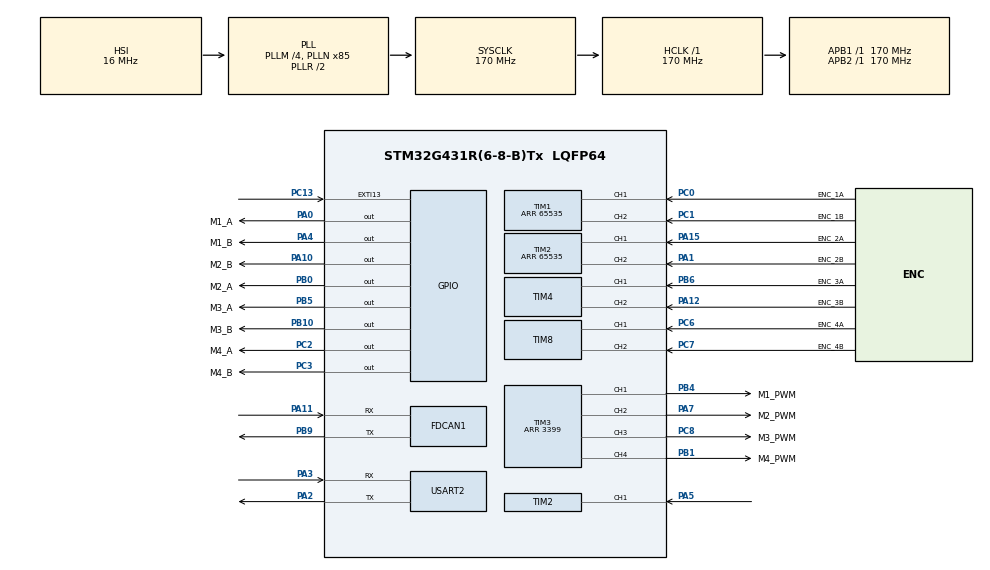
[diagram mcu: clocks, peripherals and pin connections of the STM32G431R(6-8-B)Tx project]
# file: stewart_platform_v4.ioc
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FDCAN1.CalculateBaudRateNominal=125000
FDCAN1.CalculateTimeBitNominal=8000
FDCAN1.CalculateTimeQuantumNominal=400.0
FDCAN1.NominalPrescaler=68
FDCAN1.NominalSyncJumpWidth=4
FDCAN1.NominalTimeSeg1=15
FDCAN1.NominalTimeSeg2=4
Mcu.Family=STM32G4
Mcu.Name=STM32G431R(6-8-B)Tx
Mcu.Package=LQFP64
NUCLEO-G431RB.BUTTON=1
NUCLEO-G431RB.LD1=true
NVIC.EXTI15_10_IRQn=true\:0\:0\:false\:false\:true\:false\:true\:true
NVIC.PriorityGroup=NVIC_PRIORITYGROUP_4
PA0.GPIO_Label=M1_A
PA0.Signal=GPIO_Output
PA1.GPIO_Label=ENC_2B
PA1.Signal=S_TIM2_CH2
PA10.GPIO_Label=M2_B
PA10.Signal=GPIO_Output
PA11.Mode=FDCAN_Activate
PA11.Signal=FDCAN1_RX
PA12.GPIO_Label=ENC_3B
PA12.Signal=S_TIM4_CH2
PA13.GPIO_Label=T_SWDIO
PA13.Mode=Trace_Asynchronous_SW
PA13.Signal=SYS_JTMS-SWDIO
PA14.GPIO_Label=T_SWCLK
PA14.Mode=Trace_Asynchronous_SW
PA14.Signal=SYS_JTCK-SWCLK
PA15.GPIO_Label=ENC_2A
PA15.Signal=S_TIM2_CH1
PA2.Mode=Asynchronous
PA2.Signal=USART2_TX
PA3.Mode=Asynchronous
PA3.Signal=USART2_RX
PA4.GPIO_Label=M1_B
PA4.Signal=GPIO_Output
PA5.Signal=S_TIM2_CH1
PA7.GPIO_Label=M2_PWM
PA7.Signal=S_TIM3_CH2
PB0.GPIO_Label=M2_A
PB0.Signal=GPIO_Output
PB1.GPIO_Label=M4_PWM
PB1.Signal=S_TIM3_CH4
PB10.GPIO_Label=M3_B
PB10.Signal=GPIO_Output
PB3.GPIO_Label=T_SWO
PB3.Mode=Trace_Asynchronous_SW
PB3.Signal=SYS_JTDO-SWO
PB4.GPIO_Label=M1_PWM
PB4.Signal=S_TIM3_CH1
PB5.GPIO_Label=M3_A
PB5.Signal=GPIO_Output
PB6.GPIO_Label=ENC_3A
PB6.Signal=S_TIM4_CH1
PB9.Mode=FDCAN_Activate
PB9.Signal=FDCAN1_TX
PC0.GPIO_Label=ENC_1A
PC0.Signal=S_TIM1_CH1
PC1.GPIO_Label=ENC_1B
PC1.Signal=S_TIM1_CH2
PC13.Signal=GPXTI13
PC14-OSC32_IN.GPIO_Label=RCC_OSC32_OUT
PC14-OSC32_IN.Signal=RCC_OSC32_IN
PC15-OSC32_OUT.GPIO_Label=RCC_OSC32_OUT
PC15-OSC32_OUT.Signal=RCC_OSC32_OUT
PC2.GPIO_Label=M4_A
PC2.Signal=GPIO_Output
PC3.GPIO_Label=M4_B
PC3.Signal=GPIO_Output
PC6.GPIO_Label=ENC_4A
PC6.Signal=S_TIM8_CH1
PC7.GPIO_Label=ENC_4B
PC7.Signal=S_TIM8_CH2
PC8.GPIO_Label=M3_PWM
PC8.Signal=S_TIM3_CH3
PF0-OSC_IN.GPIO_Label=RCC_OSC_IN
PF0-OSC_IN.Mode=HSE-External-Oscillator
PF0-OSC_IN.Signal=RCC_OSC_IN
PF1-OSC_OUT.GPIO_Label=RCC_OSC_OUT
PF1-OSC_OUT.Mode=HSE-External-Oscillator
PF1-OSC_OUT.Signal=RCC_OSC_OUT
ProjectManager.HeapSize=0x200
ProjectManager.StackSize=0x400
ProjectManager.TargetToolchain=STM32CubeIDE
RCC.ADC12Freq_Value=170000000
RCC.AHBFreq_Value=170000000
RCC.APB1Freq_Value=170000000
RCC.APB1TimFreq_Value=170000000
RCC.APB2Freq_Value=170000000
RCC.APB2TimFreq_Value=170000000
RCC.CortexFreq_Value=170000000
RCC.EXTERNAL_CLOCK_VALUE=12288000
RCC.HCLKFreq_Value=170000000
RCC.HSE_VALUE=24000000
RCC.HSI48_VALUE=48000000
RCC.HSI_VALUE=16000000
RCC.LSE_VALUE=32768
RCC.PLLM=RCC_PLLM_DIV4
RCC.PLLN=85
RCC.RTCClockSelection=RCC_RTCCLKSOURCE_LSE
RCC.SYSCLKFreq_VALUE=170000000
RCC.SYSCLKSource=RCC_SYSCLKSOURCE_PLLCLK
RCC.USBFreq_Value=170000000
RCC.VCOOutputFreq_Value=340000000
SH.S_TIM1_CH1.0=TIM1_CH1,Encoder_Interface
SH.S_TIM1_CH2.0=TIM1_CH2,Encoder_Interface
SH.S_TIM2_CH1.0=TIM2_CH1,Encoder_Interface
SH.S_TIM2_CH2.0=TIM2_CH2,Encoder_Interface
SH.S_TIM3_CH1.0=TIM3_CH1,PWM Generation1 CH1
SH.S_TIM3_CH2.0=TIM3_CH2,PWM Generation2 CH2
SH.S_TIM3_CH3.0=TIM3_CH3,PWM Generation3 CH3
SH.S_TIM3_CH4.0=TIM3_CH4,PWM Generation4 CH4
SH.S_TIM4_CH1.0=TIM4_CH1,Encoder_Interface
SH.S_TIM4_CH2.0=TIM4_CH2,Encoder_Interface
SH.S_TIM8_CH1.0=TIM8_CH1,Encoder_Interface
SH.S_TIM8_CH2.0=TIM8_CH2,Encoder_Interface
TIM1.EncoderMode=TIM_ENCODERMODE_TI12
TIM1.IC1Filter=6
TIM1.IC2Filter=6
TIM1.PeriodNoDither=65535
TIM1.TIM_MasterOutputTrigger=TIM_TRGO_UPDATE
TIM1.TIM_MasterSlaveMode=TIM_MASTERSLAVEMODE_ENABLE
TIM2.EncoderMode=TIM_ENCODERMODE_TI12
TIM2.IC1Filter=6
TIM2.IC2Filter=6
TIM2.PeriodNoDither=65535
TIM3.Channel-PWM\ Generation1\ CH1=TIM_CHANNEL_1
TIM3.Channel-PWM\ Generation2\ CH2=TIM_CHANNEL_2
TIM3.Channel-PWM\ Generation3\ CH3=TIM_CHANNEL_3
TIM3.Channel-PWM\ Generation4\ CH4=TIM_CHANNEL_4
TIM3.PeriodNoDither=3399
TIM3.PulseNoDither_1=3000
TIM4.EncoderMode=TIM_ENCODERMODE_TI12
TIM4.IC1Filter=6
TIM4.IC1Polarity=TIM_ICPOLARITY_RISING
TIM4.IC2Filter=6
TIM8.EncoderMode=TIM_ENCODERMODE_TI12
TIM8.IC1Filter=6
TIM8.IC2Filter=6
USART2.VirtualMode-Asynchronous=VM_ASYNC
VP_NUCLEO-G431RB_VS_BSP_COMMON.Mode=COMMON
VP_SYS_VS_DBSignals.Mode=DisableDeadBatterySignals
VP_TIM3_VS_ClockSourceINT.Mode=Internal
board=NUCLEO-G431RB

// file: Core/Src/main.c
/* USER CODE BEGIN Header */
/**
  ******************************************************************************
  * @file           : main.c
  * @brief          : Stewart platform - 4 actuator sync on NUCLEO-G431RB
  ******************************************************************************
  * @attention
  *
  * Copyright (c) 2026 STMicroelectronics.
  * All rights reserved.
  *
  * This software is licensed under terms that can be found in the LICENSE file
  * in the root directory of this software component.
  * If no LICENSE file comes with this software, it is provided AS-IS.
  *
  ******************************************************************************
  *
  * Pin map (must match the .ioc):
  *   Leg | Dir A | Dir B | PWM (TIM3, ARR 3399) | Encoder (65535)
  *   M1  | PA0   | PA4   | CH1 PB4              | TIM1 PC0/PC1
  *   M2  | PB0   | PA10  | CH2 PA7              | TIM2 PA15/PA1
  *   M3  | PB5   | PB10  | CH3 PC8              | TIM4 PB6/PA12
  *   M4  | PC2   | PC3   | CH4 PB1              | TIM8 PC6/PC7
  *   CAN : FDCAN1 RX PA11 / TX PB9, 125 kbit/s (prescaler 68, seg1 15, seg2 4)
  *   UART: USART2 PA2/PA3 (ST-LINK virtual COM), 115200
  ******************************************************************************
  */
/* USER CODE END Header */
#include "main.h"

/* USER CODE BEGIN Includes */
#include <stdio.h>
#include <string.h>
#include <stdarg.h>
/* USER CODE END Includes */

/* USER CODE BEGIN PTD */
// --- Stewart platform state ---
typedef enum{
	SLEEP_STANDBY,
	FORWARD,
	BRAKE,
	BACKWARD,
	HOMING                 // open-loop retract to end stops (used to recover from a fault)
} stewart_state;

// --- command direction ---
typedef enum{
	GO,
	REVERSE
} command_direction;

// --- one actuator: H-bridge + encoder ---
typedef struct{
	// PWM (speed)
	TIM_HandleTypeDef *timer;
	uint32_t channel;
	// direction pins
	GPIO_TypeDef *gpioportA;
	uint16_t GPIOPinA;
	GPIO_TypeDef *gpioportB;
	uint16_t GPIOPinB;
	// encoder (timer in encoder mode, period 65535)
	TIM_HandleTypeDef *enc_timer;
	uint8_t enc_invert;          // set to 1 if this leg counts NEGATIVE while extending
	uint16_t enc_last;           // last raw 16-bit counter value
	int32_t position_ticks;      // signed position (+ extending)
	int32_t speed_ticks;         // ticks since last speed update (signed)
} motor;

// Result output format for findmin
typedef struct{
	uint32_t idx;
	uint32_t value;
} minResult;
/* USER CODE END PTD */

/* USER CODE BEGIN PD */
#define ACTUATOR_COUNT 3U       // 3 or 4: legs M1..M(ACTUATOR_COUNT) are used, the rest are ignored

// 1 = closed-loop position sync, 0 = open loop (every leg runs at BASE_DUTY, no sync, no fault stop)
#define SYNC_ENABLE 1

// 1 = start extending as soon as the board boots (no button press needed)
#define AUTO_START 0

// 1 = start FDCAN and send/receive frames, 0 = CAN completely off (no transceiver needed)
#define CAN_ENABLE 0

// --- Timing ---
#define CTRL_PERIOD_MS      10U     // encoder read + sync loop
#define PRINT_PERIOD_MS     100U    // UART print + speed window
#define CAN_PERIOD_MS       100U    // CAN status frames
#define BUTTON_DEBOUNCE_MS  200U

// --- Sync controller (tune these) ---
// Duties are a % of the PWM period, so they follow whatever ARR is set in CubeMX.
#define BASE_DUTY_PCT  82.0f    // nominal duty (headroom for the lagging legs)
#define DUTY_MIN_PCT   18.0f    // don't let a motor stall
#define DUTY_MAX_PCT   95.0f    // leaves PWM off-time for the driver's high side
#define I_LIMIT_PCT    23.5f    // max duty the I term can contribute (anti-windup)
#define KP          1.5f        // duty counts per tick of position error
#define KI          0.01f       // duty counts added per tick of error, every 10 ms
#define KD          0.0f        // leave at 0 to start (encoder ticks make D noisy)

// --- Safety ---
#define ERR_LIMIT   10000       // ticks: if any leg gets this far from the average, stop all

// --- UART transmit ring buffer (must be a power of two) ---
#define TX_BUF_SIZE 2048U

// --- CAN message IDs (standard 11-bit) ---
#define CAN_ID_STATUS   0x101U  // [0]=state [1]=fault [2]=counter
#define CAN_ID_POS_12   0x110U  // int32 position M1, int32 position M2 (little-endian)
#define CAN_ID_POS_34   0x111U  // int32 position M3, int32 position M4 (little-endian)
/* USER CODE END PD */

FDCAN_HandleTypeDef hfdcan1;

TIM_HandleTypeDef htim1;
TIM_HandleTypeDef htim2;
TIM_HandleTypeDef htim3;
TIM_HandleTypeDef htim4;
TIM_HandleTypeDef htim8;

UART_HandleTypeDef huart2;

/* USER CODE BEGIN PV */
// states/buttons
static stewart_state motor_state = SLEEP_STANDBY;
static volatile uint8_t button_event = 0U;

// motors: leg N = H-bridge N + encoder N (all PWM on TIM3)
static motor h_bridge[ACTUATOR_COUNT] = {
	{ // M1: PWM TIM3 CH1 (PB4), encoder TIM1 (PC0/PC1)
		.timer = &htim3, .channel = TIM_CHANNEL_1,
		.gpioportA = M1_A_GPIO_Port, .GPIOPinA = M1_A_Pin,
		.gpioportB = M1_B_GPIO_Port, .GPIOPinB = M1_B_Pin,
		.enc_timer = &htim1, .enc_invert = 0U
	},
	{ // M2: PWM TIM3 CH2 (PA7), encoder TIM2 (PA15/PA1)
		.timer = &htim3, .channel = TIM_CHANNEL_2,
		.gpioportA = M2_A_GPIO_Port, .GPIOPinA = M2_A_Pin,
		.gpioportB = M2_B_GPIO_Port, .GPIOPinB = M2_B_Pin,
		.enc_timer = &htim2, .enc_invert = 1U
	},
	{ // M3: PWM TIM3 CH3 (PC8), encoder TIM4 (PB6/PA12)
		.timer = &htim3, .channel = TIM_CHANNEL_3,
		.gpioportA = M3_A_GPIO_Port, .GPIOPinA = M3_A_Pin,
		.gpioportB = M3_B_GPIO_Port, .GPIOPinB = M3_B_Pin,
		.enc_timer = &htim4, .enc_invert = 0U
	},
#if ACTUATOR_COUNT > 3
	{ // M4: PWM TIM3 CH4 (PB1), encoder TIM8 (PC6/PC7)
		.timer = &htim3, .channel = TIM_CHANNEL_4,
		.gpioportA = M4_A_GPIO_Port, .GPIOPinA = M4_A_Pin,
		.gpioportB = M4_B_GPIO_Port, .GPIOPinB = M4_B_Pin,
		.enc_timer = &htim8, .enc_invert = 0U
	},
#endif
};

// Speeds array (magnitude of ticks per print window)
static volatile uint32_t speeds[ACTUATOR_COUNT];

// print / CAN timing
static uint32_t last_uart_print_ms = 0;
static uint32_t last_can_ms = 0;

// per-leg sync state (for printing / tuning)
static int32_t sync_error[ACTUATOR_COUNT];
static int32_t duty_cmd[ACTUATOR_COUNT];
static float   i_acc[ACTUATOR_COUNT];
static int32_t err_prev[ACTUATOR_COUNT];
static uint8_t fault = 0U;          // 1 = stopped because a leg got too far from the others

// duty limits in timer counts (computed from the PWM period at start-up)
static int32_t duty_base, duty_min, duty_max;
static float   i_limit;

// UART transmit ring buffer (filled by uart_write, drained by uart_pump)
static uint8_t  tx_buf[TX_BUF_SIZE];
static uint16_t tx_head = 0U;
static uint16_t tx_tail = 0U;

// CAN bookkeeping
static uint8_t  can_counter = 0U;
static uint32_t can_tx_count = 0U;
static uint32_t can_rx_count = 0U;
static uint32_t can_last_rx_id = 0U;
static uint8_t  can_last_rx_data[8];
/* USER CODE END PV */

void SystemClock_Config(void);
static void MX_GPIO_Init(void);
static void MX_FDCAN1_Init(void);
static void MX_TIM1_Init(void);
static void MX_TIM3_Init(void);
static void MX_TIM4_Init(void);
static void MX_TIM8_Init(void);
static void MX_USART2_UART_Init(void);
static void MX_TIM2_Init(void);
/* USER CODE BEGIN PFP */
static void duty_limits_init(void);
static void move_all_generic(command_direction direction);
static void motors_brake(void);
static void motors_sleep(void);
static minResult simple_findmin(const volatile uint32_t arr[], uint32_t length);
static void update_encoders(void);
static void sync_actuators(void);
static int32_t clamp_i32(int32_t x, int32_t lo, int32_t hi);
static void handle_button(void);
static void uart_write(const char *s, uint16_t n);
static void uart_pump(void);
static void print_status(const int32_t s[], minResult mn);
static void can_init(void);
static void can_send(uint32_t id, const uint8_t data[8]);
static void can_send_status(void);
static void can_poll_rx(void);
/* USER CODE END PFP */

/* USER CODE BEGIN 0 */
static void duty_limits_init(void){
	// all legs share TIM3, so one ARR sets every duty limit
	uint32_t period = __HAL_TIM_GET_AUTORELOAD(&htim3) + 1U;
	duty_base = (int32_t)((float)period * BASE_DUTY_PCT / 100.0f);
	duty_min  = (int32_t)((float)period * DUTY_MIN_PCT  / 100.0f);
	duty_max  = (int32_t)((float)period * DUTY_MAX_PCT  / 100.0f);
	i_limit   = (float)period * I_LIMIT_PCT / 100.0f;
	for (uint8_t i = 0; i < ACTUATOR_COUNT; i++){
		duty_cmd[i] = duty_base;
	}
}

static void move_all_generic(command_direction direction){
	// fresh PID state each move (err sign flips between extend and retract)
	for (uint8_t i = 0; i < ACTUATOR_COUNT; i++){
		i_acc[i] = 0.0f;
		err_prev[i] = 0;
		sync_error[i] = 0;
		duty_cmd[i] = duty_base;
	}

	for (uint8_t i = 0; i < ACTUATOR_COUNT; i++){
		motor *m = &h_bridge[i];

		// every move starts all legs at the same duty; sync adjusts from there
		__HAL_TIM_SET_COMPARE(m->timer, m->channel, (uint32_t)duty_base);

		if (direction == GO){
			m->gpioportA->BSRR = (uint32_t)m->GPIOPinA;          // Set A
			m->gpioportB->BSRR = (uint32_t)m->GPIOPinB << 16U;   // Reset B
		}
		if (direction == REVERSE){
			m->gpioportA->BSRR = (uint32_t)m->GPIOPinA << 16U;   // Reset A
			m->gpioportB->BSRR = (uint32_t)m->GPIOPinB;          // Set B
		}
		HAL_TIM_PWM_Start(m->timer, m->channel);
	}
}

static void motors_sleep(void){
	for (uint8_t i = 0; i < ACTUATOR_COUNT; i++){
		motor *m = &h_bridge[i];
		HAL_TIM_PWM_Stop(m->timer, m->channel);
	}
}

static void motors_brake(void){
	for (uint8_t i = 0; i < ACTUATOR_COUNT; i++){
		motor *m = &h_bridge[i];
		m->gpioportA->BSRR = (uint32_t)m->GPIOPinA;   // Set A
		m->gpioportB->BSRR = (uint32_t)m->GPIOPinB;   // Set B
	}
}

static minResult simple_findmin(const volatile uint32_t arr[], uint32_t length){
	minResult min = {
		.idx = 0,
		.value = arr[0]
	};

	for (uint32_t i = 1; i < length; i++){
		if (arr[i] < min.value){
			min.idx = i;
			min.value = arr[i];
		}
	}
	return min;
}

static void update_encoders(void){
	for (uint8_t i = 0; i < ACTUATOR_COUNT; i++){
		motor *m = &h_bridge[i];
		// all encoder timers wrap at 65535 (TIM2 too), so 16-bit maths handles wraparound
		uint16_t now = (uint16_t)__HAL_TIM_GET_COUNTER(m->enc_timer);
		int16_t delta = (int16_t)(now - m->enc_last);
		m->enc_last = now;

		if (m->enc_invert){
			delta = (int16_t)(-delta);
		}

		m->position_ticks += delta;
		m->speed_ticks    += delta;
	}
}

static int32_t clamp_i32(int32_t x, int32_t lo, int32_t hi){
	if (x < lo) return lo;
	if (x > hi) return hi;
	return x;
}

// Position sync: each leg is compared with the AVERAGE position of all legs.
// A leg ahead of the average is slowed, a leg behind is sped up (one PID + anti-windup per leg).
static void sync_actuators(void){
#if !SYNC_ENABLE
	return;   // open-loop test: legs stay at BASE_DUTY
#endif
	if (motor_state != FORWARD && motor_state != BACKWARD) return;

	int32_t sum = 0;
	for (uint8_t i = 0; i < ACTUATOR_COUNT; i++){
		sum += h_bridge[i].position_ticks;
	}
	int32_t mean = sum / (int32_t)ACTUATOR_COUNT;

	// Safety: any leg too far from the average -> stop all
	for (uint8_t i = 0; i < ACTUATOR_COUNT; i++){
		int32_t dev = h_bridge[i].position_ticks - mean;
		if (dev > ERR_LIMIT || dev < -ERR_LIMIT){
			motors_sleep();
			motor_state = SLEEP_STANDBY;
			fault = 1U;
			return;
		}
	}

	for (uint8_t i = 0; i < ACTUATOR_COUNT; i++){
		int32_t raw = h_bridge[i].position_ticks - mean;       // >0 = ahead of average (extending)
		int32_t err = (motor_state == BACKWARD) ? -raw : raw;  // retracting: "ahead" = smaller position

		// P and D
		float p_term = KP * (float)err;
		float d_term = KD * (float)(err - err_prev[i]);
		err_prev[i] = err;

		// Tentative integral (hard cap kept as a backstop)
		float i_new = i_acc[i] + KI * (float)err;
		if (i_new >  i_limit) i_new =  i_limit;
		if (i_new < -i_limit) i_new = -i_limit;

		// Would this output saturate this leg?
		int32_t u_try = (int32_t)(p_term + i_new + d_term);
		int32_t d_try = duty_base - u_try;
		uint8_t sat_low  = (d_try < duty_min);   // leader already pushed to the floor
		uint8_t sat_high = (d_try > duty_max);   // laggard already pushed to the ceiling

		// Anti-windup (conditional integration)
		if (!((sat_low && err > 0) || (sat_high && err < 0))){
			i_acc[i] = i_new;
		}

		int32_t u    = (int32_t)(p_term + i_acc[i] + d_term);
		int32_t duty = clamp_i32(duty_base - u, duty_min, duty_max);

		sync_error[i] = err;
		duty_cmd[i]   = duty;
		__HAL_TIM_SET_COMPARE(h_bridge[i].timer, h_bridge[i].channel, (uint32_t)duty);
	}
}

// ---- UART: non-blocking transmit through a ring buffer (no printf, never waits) ----
static uint16_t tx_free(void){
	return (uint16_t)((tx_tail - tx_head - 1U) & (TX_BUF_SIZE - 1U));
}

static void uart_write(const char *s, uint16_t n){
	for (uint16_t i = 0; i < n; i++){
		tx_buf[tx_head] = (uint8_t)s[i];
		tx_head = (uint16_t)((tx_head + 1U) & (TX_BUF_SIZE - 1U));
	}
}

// call every main-loop pass: moves bytes into the UART while it has room
static void uart_pump(void){
	while (tx_tail != tx_head && __HAL_UART_GET_FLAG(&huart2, UART_FLAG_TXE)){
		huart2.Instance->TDR = tx_buf[tx_tail];
		tx_tail = (uint16_t)((tx_tail + 1U) & (TX_BUF_SIZE - 1U));
	}
}

// append printf-style text to b at *len (stops quietly if the buffer is full)
static void buf_add(char *b, size_t size, size_t *len, const char *fmt, ...){
	if (*len >= size) return;
	va_list ap;
	va_start(ap, fmt);
	int n = vsnprintf(b + *len, size - *len, fmt, ap);
	va_end(ap);
	if (n > 0) *len += (size_t)n;
}

// Rewrites the same 6 status lines (cursor sits at the end of the last line).
// Prints one column per leg, so it works for any ACTUATOR_COUNT.
static void print_status(const int32_t s[], minResult mn){
	static char b[640];   // static: the default stack is only 1 KB
	const size_t sz = sizeof(b);
	size_t len = 0;

	buf_add(b, sz, &len, "\033[5A\r\033[2Kspeed:");
	for (uint8_t i = 0; i < ACTUATOR_COUNT; i++) buf_add(b, sz, &len, " %6ld", (long)s[i]);

	static const char *const state_name[] = {"SLEEP", "FORWARD", "BRAKE", "BACKWARD", "HOMING"};
	buf_add(b, sz, &len, "\r\n\r\033[2Kstate=%s  min speed=%6lu  motor index=%lu",
	        state_name[motor_state], (unsigned long)mn.value, (unsigned long)mn.idx);

	buf_add(b, sz, &len, "\r\n\r\033[2Kpos:  ");
	for (uint8_t i = 0; i < ACTUATOR_COUNT; i++) buf_add(b, sz, &len, " %8ld", (long)h_bridge[i].position_ticks);

	buf_add(b, sz, &len, "\r\n\r\033[2Kerr:  ");
	for (uint8_t i = 0; i < ACTUATOR_COUNT; i++) buf_add(b, sz, &len, " %6ld", (long)sync_error[i]);

	buf_add(b, sz, &len, "\r\n\r\033[2Kduty: ");
	for (uint8_t i = 0; i < ACTUATOR_COUNT; i++) buf_add(b, sz, &len, " %5ld", (long)duty_cmd[i]);
	buf_add(b, sz, &len, "  %s",
	        (motor_state == HOMING) ? "HOMING (press when all retracted)" :
	        fault ? "FAULT: press to home" : "");

#if CAN_ENABLE
	buf_add(b, sz, &len, "\r\n\r\033[2KCAN tx=%lu rx=%lu last=0x%03lX [",
	        (unsigned long)can_tx_count, (unsigned long)can_rx_count, (unsigned long)can_last_rx_id);
	for (uint8_t i = 0; i < 8U; i++) buf_add(b, sz, &len, i ? " %02X" : "%02X", can_last_rx_data[i]);
	buf_add(b, sz, &len, "]");
#else
	buf_add(b, sz, &len, "\r\n\r\033[2KCAN off");
#endif

	// drop this frame rather than ever blocking the control loop
	if (len > 0 && len < sz && tx_free() >= (uint16_t)len){
		uart_write(b, (uint16_t)len);
	}
}

// ---- CAN (FDCAN1 in classic mode) ----
static void can_init(void){
	// Filter 0: accept every standard ID into RX FIFO0 (mask 0 = match everything).
	// Needs Std Filters Nbr = 1 in CubeMX.
	FDCAN_FilterTypeDef f = {0};
	f.IdType       = FDCAN_STANDARD_ID;
	f.FilterIndex  = 0;
	f.FilterType   = FDCAN_FILTER_MASK;
	f.FilterConfig = FDCAN_FILTER_TO_RXFIFO0;
	f.FilterID1    = 0x000;   // ID
	f.FilterID2    = 0x000;   // mask
	if (HAL_FDCAN_ConfigFilter(&hfdcan1, &f) != HAL_OK) Error_Handler();

	// reject anything that doesn't match a filter
	if (HAL_FDCAN_ConfigGlobalFilter(&hfdcan1, FDCAN_REJECT, FDCAN_REJECT,
	                                 FDCAN_FILTER_REMOTE, FDCAN_FILTER_REMOTE) != HAL_OK) Error_Handler();

	if (HAL_FDCAN_Start(&hfdcan1) != HAL_OK) Error_Handler();
}

// queue one 8-byte frame; skipped (not waited for) if the TX FIFO is full
static void can_send(uint32_t id, const uint8_t data[8]){
	if (HAL_FDCAN_GetTxFifoFreeLevel(&hfdcan1) == 0U) return;

	FDCAN_TxHeaderTypeDef h = {0};
	h.Identifier          = id;
	h.IdType              = FDCAN_STANDARD_ID;
	h.TxFrameType         = FDCAN_DATA_FRAME;
	h.DataLength          = FDCAN_DLC_BYTES_8;
	h.ErrorStateIndicator = FDCAN_ESI_ACTIVE;
	h.BitRateSwitch       = FDCAN_BRS_OFF;
	h.FDFormat            = FDCAN_CLASSIC_CAN;
	h.TxEventFifoControl  = FDCAN_NO_TX_EVENTS;
	h.MessageMarker       = 0;

	if (HAL_FDCAN_AddMessageToTxFifoQ(&hfdcan1, &h, (uint8_t *)data) == HAL_OK){
		can_tx_count++;
	}
}

static void can_send_status(void){
	uint8_t d[8] = {0};

	d[0] = (uint8_t)motor_state;
	d[1] = fault;
	d[2] = can_counter++;
	can_send(CAN_ID_STATUS, d);

	// positions, two legs per frame; a leg that isn't fitted is sent as 0
	int32_t pos[4] = {0, 0, 0, 0};
	for (uint8_t i = 0; i < ACTUATOR_COUNT && i < 4U; i++){
		pos[i] = h_bridge[i].position_ticks;
	}

	memcpy(&d[0], &pos[0], 4);
	memcpy(&d[4], &pos[1], 4);
	can_send(CAN_ID_POS_12, d);

	memcpy(&d[0], &pos[2], 4);
	memcpy(&d[4], &pos[3], 4);
	can_send(CAN_ID_POS_34, d);
}

// read every waiting frame (polled, so no FDCAN interrupt is needed)
static void can_poll_rx(void){
	while (HAL_FDCAN_GetRxFifoFillLevel(&hfdcan1, FDCAN_RX_FIFO0) > 0U){
		FDCAN_RxHeaderTypeDef rh;
		uint8_t rd[64];   // sized for the largest frame the HAL can copy
		if (HAL_FDCAN_GetRxMessage(&hfdcan1, FDCAN_RX_FIFO0, &rh, rd) != HAL_OK) break;
		can_last_rx_id = rh.Identifier;
		memcpy(can_last_rx_data, rd, sizeof(can_last_rx_data));
		can_rx_count++;
		// TODO: decode commands here once the CAN message format is decided
	}
}

// Button: step through motor states
static void handle_button(void){
	if (fault && motor_state == SLEEP_STANDBY){
		// after a fault: retract all open-loop until they sit on their end stops
		motor_state = HOMING;
		move_all_generic(REVERSE);
	}
	else if (motor_state == HOMING){
		// all fully retracted: stop and call this position zero
		motors_sleep();
		for (uint8_t i = 0; i < ACTUATOR_COUNT; i++){
			h_bridge[i].position_ticks = 0;
		}
		fault = 0U;
		motor_state = SLEEP_STANDBY;
	}
	else switch (motor_state){
		case SLEEP_STANDBY:
			motor_state = FORWARD;
			move_all_generic(GO);
			break;

		case FORWARD:
			motor_state = BRAKE;
			motors_brake();
			break;

		case BRAKE:
			motor_state = BACKWARD;
			move_all_generic(REVERSE);
			break;

		case BACKWARD:
		default:
			motor_state = SLEEP_STANDBY;
			motors_sleep();
			break;
	}
}
/* USER CODE END 0 */

int main(void)
{

  /* MCU Configuration--------------------------------------------------------*/

  /* Reset of all peripherals, Initializes the Flash interface and the Systick. */
  HAL_Init();

  /* Configure the system clock */
  SystemClock_Config();

  /* Initialize all configured peripherals */
  MX_GPIO_Init();
  MX_FDCAN1_Init();
  MX_TIM1_Init();
  MX_TIM3_Init();
  MX_TIM4_Init();
  MX_TIM8_Init();
  MX_USART2_UART_Init();
  MX_TIM2_Init();
  /* USER CODE BEGIN 2 */
  duty_limits_init();

  // start only the encoders of the legs in use
  for (uint8_t i = 0; i < ACTUATOR_COUNT; i++){
      if (HAL_TIM_Encoder_Start(h_bridge[i].enc_timer, TIM_CHANNEL_ALL) != HAL_OK) Error_Handler();
      h_bridge[i].enc_last = (uint16_t)__HAL_TIM_GET_COUNTER(h_bridge[i].enc_timer);
  }

#if CAN_ENABLE
  can_init();
#endif
  /* USER CODE END 2 */

  /* Initialize leds */
  BSP_LED_Init(LED_GREEN);

  /* Initialize USER push-button, will be used to trigger an interrupt each time it's pressed.*/
  BSP_PB_Init(BUTTON_USER, BUTTON_MODE_EXTI);

  /* Infinite loop */
  /* USER CODE BEGIN WHILE */
  minResult current_minSpeed = {0};
  uint32_t last_enc_ms = 0;
  uint32_t last_button_ms = 0U - BUTTON_DEBOUNCE_MS;

  // Banner + 5 blank lines. The status block then rewrites 6 lines upward from the cursor.
  static const char banner[] = "\r\nSTM32G431 leg sync started/reset\r\n\r\n\r\n\r\n\r\n\r\n";
  uart_write(banner, (uint16_t)(sizeof(banner) - 1U));

#if AUTO_START
  // extend all legs straight away; the button still works (brake -> retract -> stop)
  motor_state = FORWARD;
  move_all_generic(GO);
#endif

  HAL_GPIO_WritePin(M1_A_GPIO_Port, M1_A_Pin, 1);
  HAL_GPIO_WritePin(M1_B_GPIO_Port, M1_B_Pin, 0);
  HAL_TIM_PWM_Start(&htim3, TIM_CHANNEL_1);
  while (1)
  {
	  uint32_t now = HAL_GetTick();

	  // drain the UART buffer (never waits)
	  uart_pump();

#if CAN_ENABLE
	  // read any CAN frames that arrived
	  can_poll_rx();
#endif

	  //------------------- Read encoders + sync every 10 ms ----------------------
	  if ((uint32_t)(now - last_enc_ms) >= CTRL_PERIOD_MS)
	  {
		  last_enc_ms = now;
		  update_encoders();
		  sync_actuators();
	  }

#if CAN_ENABLE
	  //------------------- CAN status every 100 ms ----------------------
	  if ((uint32_t)(now - last_can_ms) >= CAN_PERIOD_MS)
	  {
		  last_can_ms = now;
		  can_send_status();
	  }
#endif

	  //------------------- Print every 100 ms (updates the same 6 lines) ----------------------
	  if ((uint32_t)(now - last_uart_print_ms) >= PRINT_PERIOD_MS)
	  {
		  last_uart_print_ms = now;

		  // grab speed (ticks per 100 ms, signed) and reset for the next window
		  int32_t s[ACTUATOR_COUNT];
		  for (uint8_t i = 0; i < ACTUATOR_COUNT; i++){
			  s[i] = h_bridge[i].speed_ticks;
			  h_bridge[i].speed_ticks = 0;
			  speeds[i] = (uint32_t)((s[i] < 0) ? -s[i] : s[i]);
		  }
		  // findmin compares magnitudes, so it works extending or retracting
		  current_minSpeed = simple_findmin(speeds, ACTUATOR_COUNT);
		  print_status(s, current_minSpeed);

		  // green LED: flashing = FORWARD, solid = BACKWARD/HOMING, off = SLEEP/BRAKE
		  if (motor_state == FORWARD)                                BSP_LED_Toggle(LED_GREEN);
		  else if (motor_state == BACKWARD || motor_state == HOMING) BSP_LED_On(LED_GREEN);
		  else                                                       BSP_LED_Off(LED_GREEN);
	  }

	  //------------------- Button: step through motor states (debounced) ----------------------
	  if (button_event)
	  {
		  button_event = 0U;
		  if ((uint32_t)(now - last_button_ms) >= BUTTON_DEBOUNCE_MS)
		  {
			  last_button_ms = now;
			  handle_button();
		  }
	  }

    /* USER CODE END WHILE */

  }
}

void SystemClock_Config(void)
{
  RCC_OscInitTypeDef RCC_OscInitStruct = {0};
  RCC_ClkInitTypeDef RCC_ClkInitStruct = {0};

  /** Configure the main internal regulator output voltage
  */
  HAL_PWREx_ControlVoltageScaling(PWR_REGULATOR_VOLTAGE_SCALE1_BOOST);

  /** Initializes the RCC Oscillators according to the specified parameters
  * in the RCC_OscInitTypeDef structure.
  */
  RCC_OscInitStruct.OscillatorType = RCC_OSCILLATORTYPE_HSI;
  RCC_OscInitStruct.HSIState = RCC_HSI_ON;
  RCC_OscInitStruct.HSICalibrationValue = RCC_HSICALIBRATION_DEFAULT;
  RCC_OscInitStruct.PLL.PLLState = RCC_PLL_ON;
  RCC_OscInitStruct.PLL.PLLSource = RCC_PLLSOURCE_HSI;
  RCC_OscInitStruct.PLL.PLLM = RCC_PLLM_DIV4;
  RCC_OscInitStruct.PLL.PLLN = 85;
  RCC_OscInitStruct.PLL.PLLP = RCC_PLLP_DIV2;
  RCC_OscInitStruct.PLL.PLLQ = RCC_PLLQ_DIV2;
  RCC_OscInitStruct.PLL.PLLR = RCC_PLLR_DIV2;
  if (HAL_RCC_OscConfig(&RCC_OscInitStruct) != HAL_OK)
  {
    Error_Handler();
  }

  /** Initializes the CPU, AHB and APB buses clocks
  */
  RCC_ClkInitStruct.ClockType = RCC_CLOCKTYPE_HCLK|RCC_CLOCKTYPE_SYSCLK
                              |RCC_CLOCKTYPE_PCLK1|RCC_CLOCKTYPE_PCLK2;
  RCC_ClkInitStruct.SYSCLKSource = RCC_SYSCLKSOURCE_PLLCLK;
  RCC_ClkInitStruct.AHBCLKDivider = RCC_SYSCLK_DIV1;
  RCC_ClkInitStruct.APB1CLKDivider = RCC_HCLK_DIV1;
  RCC_ClkInitStruct.APB2CLKDivider = RCC_HCLK_DIV1;

  if (HAL_RCC_ClockConfig(&RCC_ClkInitStruct, FLASH_LATENCY_4) != HAL_OK)
  {
    Error_Handler();
  }
}

static void MX_FDCAN1_Init(void)
{

  hfdcan1.Instance = FDCAN1;
  hfdcan1.Init.ClockDivider = FDCAN_CLOCK_DIV1;
  hfdcan1.Init.FrameFormat = FDCAN_FRAME_CLASSIC;
  hfdcan1.Init.Mode = FDCAN_MODE_NORMAL;
  hfdcan1.Init.AutoRetransmission = DISABLE;
  hfdcan1.Init.TransmitPause = DISABLE;
  hfdcan1.Init.ProtocolException = DISABLE;
  hfdcan1.Init.NominalPrescaler = 68;
  hfdcan1.Init.NominalSyncJumpWidth = 4;
  hfdcan1.Init.NominalTimeSeg1 = 15;
  hfdcan1.Init.NominalTimeSeg2 = 4;
  hfdcan1.Init.DataPrescaler = 1;
  hfdcan1.Init.DataSyncJumpWidth = 1;
  hfdcan1.Init.DataTimeSeg1 = 1;
  hfdcan1.Init.DataTimeSeg2 = 1;
  hfdcan1.Init.StdFiltersNbr = 0;
  hfdcan1.Init.ExtFiltersNbr = 0;
  hfdcan1.Init.TxFifoQueueMode = FDCAN_TX_FIFO_OPERATION;
  if (HAL_FDCAN_Init(&hfdcan1) != HAL_OK)
  {
    Error_Handler();
  }

}

static void MX_TIM1_Init(void)
{

  TIM_Encoder_InitTypeDef sConfig = {0};
  TIM_MasterConfigTypeDef sMasterConfig = {0};

  htim1.Instance = TIM1;
  htim1.Init.Prescaler = 0;
  htim1.Init.CounterMode = TIM_COUNTERMODE_UP;
  htim1.Init.Period = 65535;
  htim1.Init.ClockDivision = TIM_CLOCKDIVISION_DIV1;
  htim1.Init.RepetitionCounter = 0;
  htim1.Init.AutoReloadPreload = TIM_AUTORELOAD_PRELOAD_DISABLE;
  sConfig.EncoderMode = TIM_ENCODERMODE_TI12;
  sConfig.IC1Polarity = TIM_ICPOLARITY_RISING;
  sConfig.IC1Selection = TIM_ICSELECTION_DIRECTTI;
  sConfig.IC1Prescaler = TIM_ICPSC_DIV1;
  sConfig.IC1Filter = 6;
  sConfig.IC2Polarity = TIM_ICPOLARITY_RISING;
  sConfig.IC2Selection = TIM_ICSELECTION_DIRECTTI;
  sConfig.IC2Prescaler = TIM_ICPSC_DIV1;
  sConfig.IC2Filter = 6;
  if (HAL_TIM_Encoder_Init(&htim1, &sConfig) != HAL_OK)
  {
    Error_Handler();
  }
  sMasterConfig.MasterOutputTrigger = TIM_TRGO_UPDATE;
  sMasterConfig.MasterOutputTrigger2 = TIM_TRGO2_RESET;
  sMasterConfig.MasterSlaveMode = TIM_MASTERSLAVEMODE_ENABLE;
  if (HAL_TIMEx_MasterConfigSynchronization(&htim1, &sMasterConfig) != HAL_OK)
  {
    Error_Handler();
  }

}

static void MX_TIM2_Init(void)
{

  TIM_Encoder_InitTypeDef sConfig = {0};
  TIM_MasterConfigTypeDef sMasterConfig = {0};

  htim2.Instance = TIM2;
  htim2.Init.Prescaler = 0;
  htim2.Init.CounterMode = TIM_COUNTERMODE_UP;
  htim2.Init.Period = 65535;
  htim2.Init.ClockDivision = TIM_CLOCKDIVISION_DIV1;
  htim2.Init.AutoReloadPreload = TIM_AUTORELOAD_PRELOAD_DISABLE;
  sConfig.EncoderMode = TIM_ENCODERMODE_TI12;
  sConfig.IC1Polarity = TIM_ICPOLARITY_RISING;
  sConfig.IC1Selection = TIM_ICSELECTION_DIRECTTI;
  sConfig.IC1Prescaler = TIM_ICPSC_DIV1;
  sConfig.IC1Filter = 6;
  sConfig.IC2Polarity = TIM_ICPOLARITY_RISING;
  sConfig.IC2Selection = TIM_ICSELECTION_DIRECTTI;
  sConfig.IC2Prescaler = TIM_ICPSC_DIV1;
  sConfig.IC2Filter = 6;
  if (HAL_TIM_Encoder_Init(&htim2, &sConfig) != HAL_OK)
  {
    Error_Handler();
  }
  sMasterConfig.MasterOutputTrigger = TIM_TRGO_RESET;
  sMasterConfig.MasterSlaveMode = TIM_MASTERSLAVEMODE_DISABLE;
  if (HAL_TIMEx_MasterConfigSynchronization(&htim2, &sMasterConfig) != HAL_OK)
  {
    Error_Handler();
  }

}

static void MX_TIM3_Init(void)
{

  TIM_ClockConfigTypeDef sClockSourceConfig = {0};
  TIM_MasterConfigTypeDef sMasterConfig = {0};
  TIM_OC_InitTypeDef sConfigOC = {0};

  htim3.Instance = TIM3;
  htim3.Init.Prescaler = 0;
  htim3.Init.CounterMode = TIM_COUNTERMODE_UP;
  htim3.Init.Period = 3399;
  htim3.Init.ClockDivision = TIM_CLOCKDIVISION_DIV1;
  htim3.Init.AutoReloadPreload = TIM_AUTORELOAD_PRELOAD_DISABLE;
  if (HAL_TIM_Base_Init(&htim3) != HAL_OK)
  {
    Error_Handler();
  }
  sClockSourceConfig.ClockSource = TIM_CLOCKSOURCE_INTERNAL;
  if (HAL_TIM_ConfigClockSource(&htim3, &sClockSourceConfig) != HAL_OK)
  {
    Error_Handler();
  }
  if (HAL_TIM_PWM_Init(&htim3) != HAL_OK)
  {
    Error_Handler();
  }
  sMasterConfig.MasterOutputTrigger = TIM_TRGO_RESET;
  sMasterConfig.MasterSlaveMode = TIM_MASTERSLAVEMODE_DISABLE;
  if (HAL_TIMEx_MasterConfigSynchronization(&htim3, &sMasterConfig) != HAL_OK)
  {
    Error_Handler();
  }
  sConfigOC.OCMode = TIM_OCMODE_PWM1;
  sConfigOC.Pulse = 3000;
  sConfigOC.OCPolarity = TIM_OCPOLARITY_HIGH;
  sConfigOC.OCFastMode = TIM_OCFAST_DISABLE;
  if (HAL_TIM_PWM_ConfigChannel(&htim3, &sConfigOC, TIM_CHANNEL_1) != HAL_OK)
  {
    Error_Handler();
  }
  sConfigOC.Pulse = 0;
  if (HAL_TIM_PWM_ConfigChannel(&htim3, &sConfigOC, TIM_CHANNEL_2) != HAL_OK)
  {
    Error_Handler();
  }
  if (HAL_TIM_PWM_ConfigChannel(&htim3, &sConfigOC, TIM_CHANNEL_3) != HAL_OK)
  {
    Error_Handler();
  }
  if (HAL_TIM_PWM_ConfigChannel(&htim3, &sConfigOC, TIM_CHANNEL_4) != HAL_OK)
  {
    Error_Handler();
  }
  HAL_TIM_MspPostInit(&htim3);

}

static void MX_TIM4_Init(void)
{

  TIM_Encoder_InitTypeDef sConfig = {0};
  TIM_MasterConfigTypeDef sMasterConfig = {0};

  htim4.Instance = TIM4;
  htim4.Init.Prescaler = 0;
  htim4.Init.CounterMode = TIM_COUNTERMODE_UP;
  htim4.Init.Period = 65535;
  htim4.Init.ClockDivision = TIM_CLOCKDIVISION_DIV1;
  htim4.Init.AutoReloadPreload = TIM_AUTORELOAD_PRELOAD_DISABLE;
  sConfig.EncoderMode = TIM_ENCODERMODE_TI12;
  sConfig.IC1Polarity = TIM_ICPOLARITY_RISING;
  sConfig.IC1Selection = TIM_ICSELECTION_DIRECTTI;
  sConfig.IC1Prescaler = TIM_ICPSC_DIV1;
  sConfig.IC1Filter = 6;
  sConfig.IC2Polarity = TIM_ICPOLARITY_RISING;
  sConfig.IC2Selection = TIM_ICSELECTION_DIRECTTI;
  sConfig.IC2Prescaler = TIM_ICPSC_DIV1;
  sConfig.IC2Filter = 6;
  if (HAL_TIM_Encoder_Init(&htim4, &sConfig) != HAL_OK)
  {
    Error_Handler();
  }
  sMasterConfig.MasterOutputTrigger = TIM_TRGO_RESET;
  sMasterConfig.MasterSlaveMode = TIM_MASTERSLAVEMODE_DISABLE;
  if (HAL_TIMEx_MasterConfigSynchronization(&htim4, &sMasterConfig) != HAL_OK)
  {
    Error_Handler();
  }

}

static void MX_TIM8_Init(void)
{

  TIM_Encoder_InitTypeDef sConfig = {0};
  TIM_MasterConfigTypeDef sMasterConfig = {0};

  htim8.Instance = TIM8;
  htim8.Init.Prescaler = 0;
  htim8.Init.CounterMode = TIM_COUNTERMODE_UP;
  htim8.Init.Period = 65535;
  htim8.Init.ClockDivision = TIM_CLOCKDIVISION_DIV1;
  htim8.Init.RepetitionCounter = 0;
  htim8.Init.AutoReloadPreload = TIM_AUTORELOAD_PRELOAD_DISABLE;
  sConfig.EncoderMode = TIM_ENCODERMODE_TI12;
  sConfig.IC1Polarity = TIM_ICPOLARITY_RISING;
  sConfig.IC1Selection = TIM_ICSELECTION_DIRECTTI;
  sConfig.IC1Prescaler = TIM_ICPSC_DIV1;
  sConfig.IC1Filter = 6;
  sConfig.IC2Polarity = TIM_ICPOLARITY_RISING;
  sConfig.IC2Selection = TIM_ICSELECTION_DIRECTTI;
  sConfig.IC2Prescaler = TIM_ICPSC_DIV1;
  sConfig.IC2Filter = 6;
  if (HAL_TIM_Encoder_Init(&htim8, &sConfig) != HAL_OK)
  {
    Error_Handler();
  }
  sMasterConfig.MasterOutputTrigger = TIM_TRGO_RESET;
  sMasterConfig.MasterOutputTrigger2 = TIM_TRGO2_RESET;
  sMasterConfig.MasterSlaveMode = TIM_MASTERSLAVEMODE_DISABLE;
  if (HAL_TIMEx_MasterConfigSynchronization(&htim8, &sMasterConfig) != HAL_OK)
  {
    Error_Handler();
  }

}

static void MX_USART2_UART_Init(void)
{

  huart2.Instance = USART2;
  huart2.Init.BaudRate = 115200;
  huart2.Init.WordLength = UART_WORDLENGTH_8B;
  huart2.Init.StopBits = UART_STOPBITS_1;
  huart2.Init.Parity = UART_PARITY_NONE;
  huart2.Init.Mode = UART_MODE_TX_RX;
  huart2.Init.HwFlowCtl = UART_HWCONTROL_NONE;
  huart2.Init.OverSampling = UART_OVERSAMPLING_16;
  huart2.Init.OneBitSampling = UART_ONE_BIT_SAMPLE_DISABLE;
  huart2.Init.ClockPrescaler = UART_PRESCALER_DIV1;
  huart2.AdvancedInit.AdvFeatureInit = UART_ADVFEATURE_NO_INIT;
  if (HAL_UART_Init(&huart2) != HAL_OK)
  {
    Error_Handler();
  }
  if (HAL_UARTEx_SetTxFifoThreshold(&huart2, UART_TXFIFO_THRESHOLD_1_8) != HAL_OK)
  {
    Error_Handler();
  }
  if (HAL_UARTEx_SetRxFifoThreshold(&huart2, UART_RXFIFO_THRESHOLD_1_8) != HAL_OK)
  {
    Error_Handler();
  }
  if (HAL_UARTEx_DisableFifoMode(&huart2) != HAL_OK)
  {
    Error_Handler();
  }

}

static void MX_GPIO_Init(void)
{
  GPIO_InitTypeDef GPIO_InitStruct = {0};

  /* GPIO Ports Clock Enable */
  __HAL_RCC_GPIOC_CLK_ENABLE();
  __HAL_RCC_GPIOF_CLK_ENABLE();
  __HAL_RCC_GPIOA_CLK_ENABLE();
  __HAL_RCC_GPIOB_CLK_ENABLE();

  /*Configure GPIO pin Output Level */
  HAL_GPIO_WritePin(GPIOC, M4_A_Pin|M4_B_Pin, GPIO_PIN_RESET);

  /*Configure GPIO pin Output Level */
  HAL_GPIO_WritePin(GPIOA, M1_A_Pin|M1_B_Pin|M2_B_Pin, GPIO_PIN_RESET);

  /*Configure GPIO pin Output Level */
  HAL_GPIO_WritePin(GPIOB, M2_A_Pin|M3_B_Pin|M3_A_Pin, GPIO_PIN_RESET);

  /*Configure GPIO pins : M4_A_Pin M4_B_Pin */
  GPIO_InitStruct.Pin = M4_A_Pin|M4_B_Pin;
  GPIO_InitStruct.Mode = GPIO_MODE_OUTPUT_PP;
  GPIO_InitStruct.Pull = GPIO_NOPULL;
  GPIO_InitStruct.Speed = GPIO_SPEED_FREQ_LOW;
  HAL_GPIO_Init(GPIOC, &GPIO_InitStruct);

  /*Configure GPIO pins : M1_A_Pin M1_B_Pin M2_B_Pin */
  GPIO_InitStruct.Pin = M1_A_Pin|M1_B_Pin|M2_B_Pin;
  GPIO_InitStruct.Mode = GPIO_MODE_OUTPUT_PP;
  GPIO_InitStruct.Pull = GPIO_NOPULL;
  GPIO_InitStruct.Speed = GPIO_SPEED_FREQ_LOW;
  HAL_GPIO_Init(GPIOA, &GPIO_InitStruct);

  /*Configure GPIO pins : M2_A_Pin M3_B_Pin M3_A_Pin */
  GPIO_InitStruct.Pin = M2_A_Pin|M3_B_Pin|M3_A_Pin;
  GPIO_InitStruct.Mode = GPIO_MODE_OUTPUT_PP;
  GPIO_InitStruct.Pull = GPIO_NOPULL;
  GPIO_InitStruct.Speed = GPIO_SPEED_FREQ_LOW;
  HAL_GPIO_Init(GPIOB, &GPIO_InitStruct);

}

/* USER CODE BEGIN 4 */
void BSP_PB_Callback(Button_TypeDef Button)
{
    if (Button == BUTTON_USER)
    {
        button_event = 1U;
    }
}
/* USER CODE END 4 */

void Error_Handler(void)
{
  __disable_irq();
  while (1)
  {
  }
}
